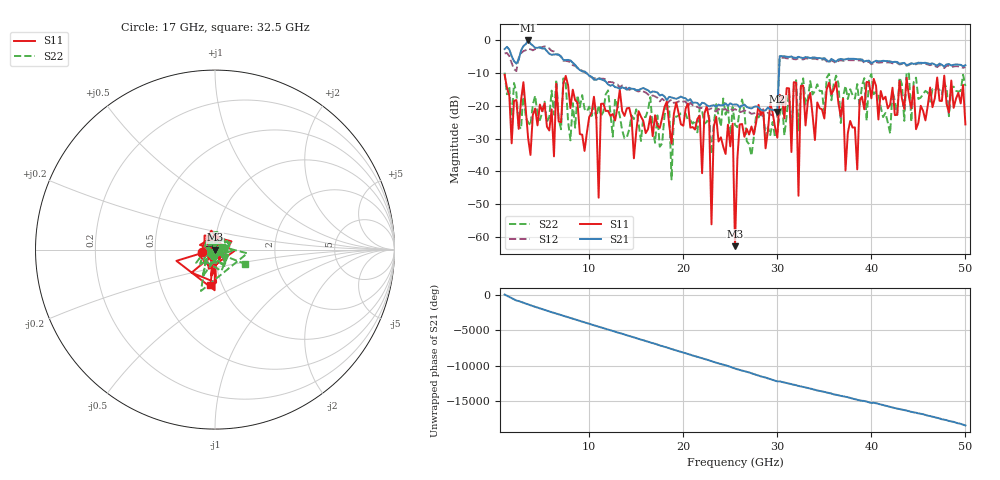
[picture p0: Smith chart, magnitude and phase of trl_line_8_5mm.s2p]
# GHz S RI R 50.0
!freq ReS11 ImS11 ReS21 ImS21 ReS12 ImS12 ReS22 ImS22
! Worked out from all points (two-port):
!   197 points, 1 GHz to 50 GHz, reference 50 ohm
!   highest |S21| = -0.22 dB at 3.5 GHz (marker M1); lowest = -21.8 dB at 30 GHz (marker M2)
!   |S21| within 3 dB of the highest: start of sweep to 1.532 GHz; 2.757 GHz to 5.424 GHz (2.667 GHz wide, 65.2 % of centre)
!   lowest |S11| = -62.7 dB at 25.5 GHz (marker M3), VSWR 1.00, Z = 50.1 + j0.0509 ohm
!   |S11| at or under -10 dB: start of sweep to end of sweep
!   |S22| runs from -42.4 to -9.8 dB; largest |S21 - S12| = 1.5
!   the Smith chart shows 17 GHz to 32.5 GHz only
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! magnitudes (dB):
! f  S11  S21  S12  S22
! 1 GHz  -10.6  -2.8  -4.2  -10.0
! 3.5 GHz  -29.8  -0.2  -2.7  -25.0
! 9.25 GHz  -28.8  -9.6  -9.4  -16.8
! 10.5 GHz  -17.3  -12.1  -11.7  -20.1
! 11 GHz  -48.0  -11.8  -11.5  -19.9
! 11.25 GHz  -19.5  -12.0  -11.8  -23.1
! 17.5 GHz  -26.8  -16.9  -18.7  -32.5
! 22 GHz  -40.5  -19.1  -20.6  -21.5
! 22.5 GHz  -20.2  -19.9  -21.2  -24.9
! 23 GHz  -56.0  -20.0  -20.8  -34.7
! 23.25 GHz  -26.4  -19.9  -21.5  -25.5
! 25.25 GHz  -25.5  -19.7  -21.4  -20.4
! 25.5 GHz  -62.7  -19.6  -21.1  -25.9
! 26 GHz  -25.7  -20.5  -22.0  -21.2
! 30 GHz  -29.7  -21.8  -23.4  -28.1
! 32 GHz  -13.0  -5.5  -5.9  -12.3
! 32.25 GHz  -47.4  -5.2  -5.6  -27.5
! 32.5 GHz  -14.0  -5.4  -5.8  -14.8
! 33.75 GHz  -22.9  -5.4  -5.8  -16.6
! 38.5 GHz  -39.4  -5.9  -6.3  -13.5
! 42 GHz  -19.7  -6.6  -6.9  -28.5
! 50 GHz  -25.7  -7.8  -8.3  -14.1
